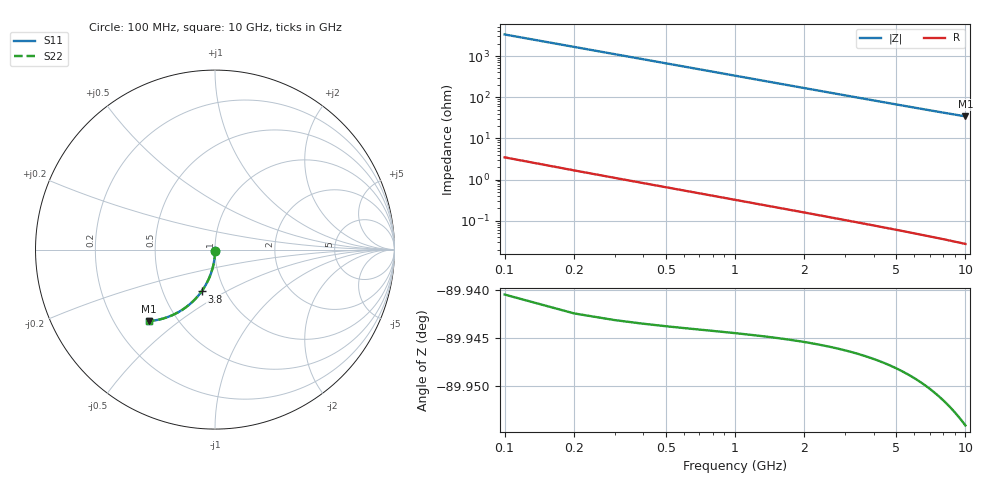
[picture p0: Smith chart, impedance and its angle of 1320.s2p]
# Hz S RI R 50.00
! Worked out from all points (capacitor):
!   100 points, 100 MHz to 10 GHz, reference 50 ohm
!   read as one part in shunt: C = 477 fF near 100 MHz
!   lowest |Z| = 34.3 ohm at 10 GHz (marker M1)
!   S11 on the Smith chart (normalised r, x): 100 MHz: 1.00, -0.01; 3.8 GHz: 0.78, -0.39; 10 GHz: 0.35, -0.39
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1e8  0.000159 -0.00666  0.9997 -0.00832  0.9997 -0.00832  0.000159 -0.00666
2e8  -1.28e-05 -0.0133  0.9995 -0.0166  0.9995 -0.0166  -1.28e-05 -0.0133
3e8  -0.000296 -0.02  0.9992 -0.025  0.9992 -0.025  -0.000296 -0.02
4e8  -0.00069 -0.0266  0.9988 -0.0333  0.9988 -0.0333  -0.00069 -0.0266
5e8  -0.0012 -0.0333  0.9983 -0.0416  0.9983 -0.0416  -0.0012 -0.0333
6e8  -0.00181 -0.0399  0.9977 -0.0499  0.9977 -0.0499  -0.00181 -0.0399
8e8  -0.00337 -0.0531  0.9961 -0.0664  0.9961 -0.0664  -0.00337 -0.0531
9e8  -0.00431 -0.0597  0.9951 -0.0747  0.9951 -0.0747  -0.00431 -0.0597
1.1e9  -0.00653 -0.0728  0.9928 -0.0911  0.9928 -0.0911  -0.00653 -0.0728
1.4e9  -0.0107 -0.0922  0.9886 -0.1156  0.9886 -0.1156  -0.0107 -0.0922
1.8e9  -0.0176 -0.1177  0.9815 -0.1477  0.9815 -0.1477  -0.0176 -0.1177
2.1e9  -0.0239 -0.1364  0.975 -0.1715  0.975 -0.1715  -0.0239 -0.1364
2.5e9  -0.0337 -0.1607  0.965 -0.2024  0.965 -0.2024  -0.0337 -0.1607
2.9e9  -0.0449 -0.1842  0.9535 -0.2326  0.9535 -0.2326  -0.0449 -0.1842
3.4e9  -0.0609 -0.2121  0.937 -0.2689  0.937 -0.2689  -0.0609 -0.2121
3.8e9  -0.0751 -0.2332  0.9224 -0.2968  0.9224 -0.2968  -0.0751 -0.2332
4.4e9  -0.0984 -0.2627  0.8983 -0.3364  0.8983 -0.3364  -0.0984 -0.2627
5.1e9  -0.1284 -0.2935  0.8674 -0.3792  0.8674 -0.3792  -0.1284 -0.2935
5.9e9  -0.1654 -0.3238  0.8291 -0.4232  0.8291 -0.4232  -0.1654 -0.3238
6.7e9  -0.2044 -0.3487  0.7887 -0.4619  0.7887 -0.4619  -0.2044 -0.3487
8.4e9  -0.29 -0.3842  0.6992 -0.5272  0.6992 -0.5272  -0.29 -0.3842
1e10  -0.3691 -0.3982  0.6155 -0.5698  0.6155 -0.5698  -0.3691 -0.3982
